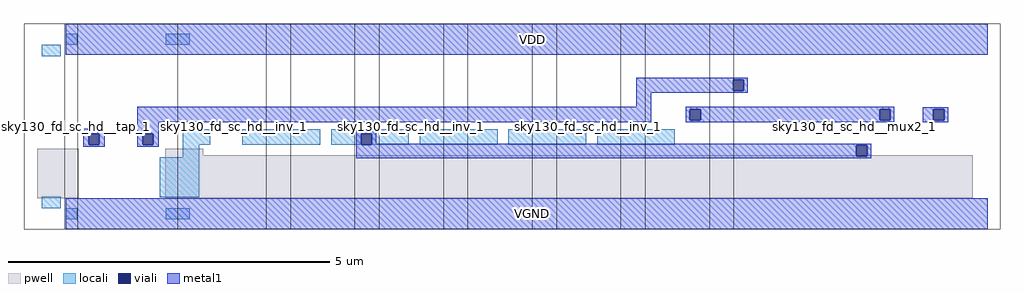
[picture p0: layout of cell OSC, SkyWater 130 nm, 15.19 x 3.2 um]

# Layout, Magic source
magic
tech sky130A
magscale 1 2
<< pwell >>
rect -475 49 -346 203
rect -351 48 -346 49
rect -76 182 42 203
rect -76 48 2437 182
<< locali >>
rect -386 527 -351 561
rect -75 527 0 561
rect -461 491 -402 527
rect -22 215 64 263
rect 164 215 406 263
rect 440 249 682 263
rect 440 215 533 249
rect 567 215 682 249
rect 716 215 958 263
rect 992 215 1234 263
rect 1268 215 1510 263
rect -22 177 30 215
rect -461 17 -402 53
rect -93 51 30 177
rect -386 -17 -351 17
rect -75 -17 0 17
<< viali >>
rect 1691 383 1725 417
rect 1556 292 1590 326
rect 2147 292 2181 326
rect 2315 292 2349 326
rect -315 215 -281 249
rect -147 215 -113 249
rect 533 215 567 249
rect 2075 179 2109 213
<< metal1 >>
rect -386 496 2484 592
rect 1390 417 1737 424
rect 1390 383 1691 417
rect 1725 383 1737 417
rect 1390 377 1737 383
rect 1390 333 1436 377
rect -163 286 1436 333
rect 1544 326 2193 333
rect 1544 292 1556 326
rect 1590 292 2147 326
rect 2181 292 2193 326
rect 1544 286 2193 292
rect 2281 326 2361 332
rect 2281 292 2315 326
rect 2349 292 2361 326
rect 2281 286 2361 292
rect -332 249 -265 265
rect -332 215 -315 249
rect -281 215 -265 249
rect -332 209 -265 215
rect -163 249 -96 286
rect -163 215 -147 249
rect -113 215 -96 249
rect -163 209 -96 215
rect 518 249 581 258
rect 518 215 533 249
rect 567 219 581 249
rect 567 215 2121 219
rect 518 213 2121 215
rect 518 179 2075 213
rect 2109 179 2121 213
rect 518 173 2121 179
rect -386 -48 2484 48
use sky130_fd_sc_hd__tap_1  sky130_fd_sc_hd__tap_1_0 $PDKPATH/libs.ref/sky130_fd_sc_hd/mag
transform 1 0 -478 0 1 0
box -38 -48 130 592
use sky130_fd_sc_hd__mux2_1  sky130_fd_sc_hd__mux2_1_0 $PDKPATH/libs.ref/sky130_fd_sc_hd/mag
transform 1 0 1656 0 1 0
box -38 -48 866 592
use sky130_fd_sc_hd__nand2_1  sky130_fd_sc_hd__nand2_1_0 $PDKPATH/libs.ref/sky130_fd_sc_hd/mag
transform 1 0 -351 0 1 0
box -38 -48 314 592
use sky130_fd_sc_hd__inv_1  sky130_fd_sc_hd__inv_1_0 $PDKPATH/libs.ref/sky130_fd_sc_hd/mag
transform 1 0 0 0 1 0
box -38 -48 314 592
use sky130_fd_sc_hd__inv_1  sky130_fd_sc_hd__inv_1_1
transform 1 0 276 0 1 0
box -38 -48 314 592
use sky130_fd_sc_hd__inv_1  sky130_fd_sc_hd__inv_1_2
transform 1 0 552 0 1 0
box -38 -48 314 592
use sky130_fd_sc_hd__inv_1  sky130_fd_sc_hd__inv_1_3
transform 1 0 828 0 1 0
box -38 -48 314 592
use sky130_fd_sc_hd__inv_1  sky130_fd_sc_hd__inv_1_4
transform 1 0 1104 0 1 0
box -38 -48 314 592
use sky130_fd_sc_hd__inv_1  sky130_fd_sc_hd__inv_1_5
transform 1 0 1380 0 1 0
box -38 -48 314 592
<< labels >>
rlabel metal1 -332 209 -265 265 1 EN
port 1 n
rlabel metal1 2281 286 2361 332 1 SEL
port 2 n
rlabel metal1 518 215 581 258 1 OUT
port 3 n
rlabel metal1 -351 -48 2484 48 1 VGND
port 5 n
rlabel metal1 -351 496 2484 592 1 VDD
port 4 n
<< end >>
